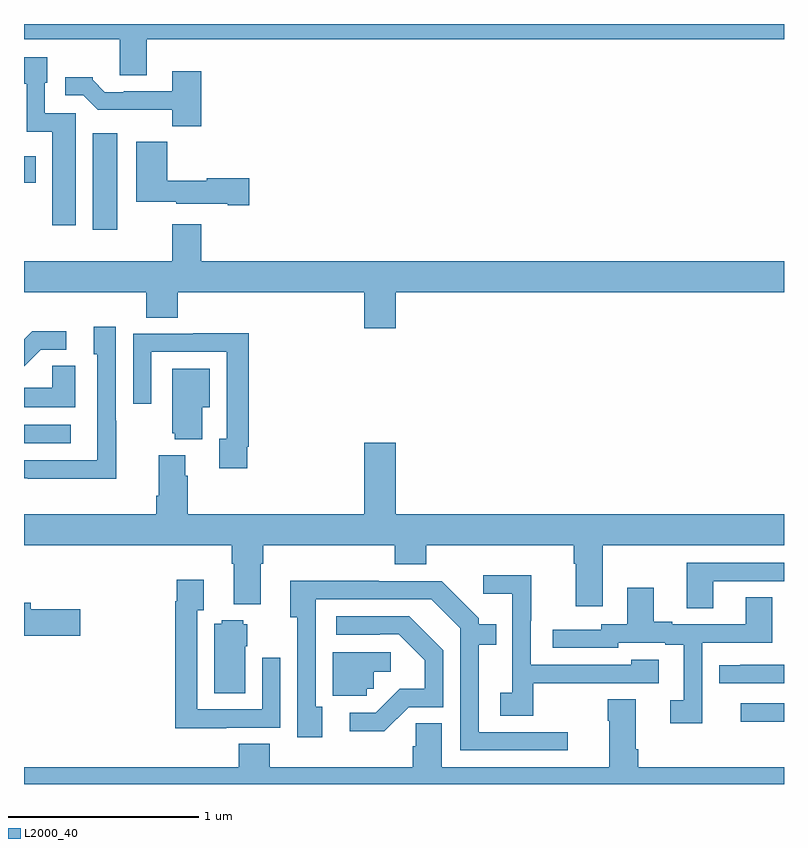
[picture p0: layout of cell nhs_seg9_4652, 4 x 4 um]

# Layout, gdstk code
import gdstk
lib = gdstk.Library(unit=1e-6, precision=1e-09)
def R(c, l, rs):  # rectangles x0, y0, x1, y1
    for r in rs: c.add(gdstk.rectangle(r[:2], r[2:], *l))
def P(c, l, *ps):  # polygons
    for p in ps: c.add(gdstk.Polygon(p, *l))
L2000_40 = (2000, 40)

nhs_seg9_4652 = lib.new_cell('nhs_seg9_4652')
R(nhs_seg9_4652, L2000_40, [(382.773,1192.828,383,1192.926), (379,1194.294,379.246,1194.39), (379.361,1195.416,379.492,1195.924), (379,1195.664,379.063,1195.804)])
P(nhs_seg9_4652, L2000_40, [(379.645,1196.42),(383,1196.42),(383,1196.5),(379,1196.5),(379,1196.42),(379.505,1196.42),(379.505,1196.23),(379.645,1196.23)],
  [(379.273,1196.031),(379.11,1196.031),(379.11,1196.19),(379.123,1196.19),(379.123,1196.326),(379,1196.326),(379,1196.186),(379.014,1196.186),(379.014,1195.934),(379.148,1195.934),(379.148,1195.44),(379.273,1195.44)],
  [(379.934,1196.251),(379.781,1196.251),(379.781,1196.145),(379.525,1196.145),(379.525,1196.142),(379.426,1196.142),(379.362,1196.206),(379.362,1196.221),(379.218,1196.221),(379.218,1196.124),(379.311,1196.124),(379.387,1196.048),(379.779,1196.048),(379.779,1195.961),(379.934,1195.961)],
  [(380.185,1195.688),(379.962,1195.688),(379.962,1195.675),(379.754,1195.675),(379.754,1195.879),(379.592,1195.879),(379.592,1195.565),(379.8,1195.565),(379.8,1195.553),(380.072,1195.553),(380.072,1195.546),(380.185,1195.546)],
  [(380.956,1195.088),(383,1195.088),(383,1195.252),(379.934,1195.252),(379.934,1195.447),(379.781,1195.447),(379.781,1195.252),(379,1195.252),(379,1195.088),(379.643,1195.088),(379.643,1194.955),(379.808,1194.955),(379.808,1195.088),(380.792,1195.088),(380.792,1194.9),(380.956,1194.9)],
  [(379.485,1194.413),(379.482,1194.413),(379.482,1194.907),(379.367,1194.907),(379.367,1194.762),(379.386,1194.762),(379.386,1194.204),(379,1194.204),(379,1194.108),(379.021,1194.108),(379.021,1194.107),(379.485,1194.107)],
  [(379.087,1194.786),(379.222,1194.786),(379.222,1194.884),(379.043,1194.884),(379,1194.841),(379,1194.699)],
  [(380.176,1194.274),(380.183,1194.274),(380.183,1194.872),(379.891,1194.872),(379.891,1194.87),(379.575,1194.87),(379.575,1194.501),(379.671,1194.501),(379.671,1194.774),(380.067,1194.774),(380.067,1194.318),(380.027,1194.318),(380.027,1194.162),(380.176,1194.162)],
  [(379.27,1194.701),(379.149,1194.701),(379.149,1194.586),(379,1194.586),(379,1194.482),(379.27,1194.482)],
  [(379.939,1194.482),(379.978,1194.482),(379.978,1194.685),(379.781,1194.685),(379.781,1194.345),(379.793,1194.345),(379.793,1194.314),(379.939,1194.314)],
  [(382.045,1193.756),(383,1193.756),(383,1193.92),(380.956,1193.92),(380.956,1194.295),(380.792,1194.295),(380.792,1193.92),(379.862,1193.92),(379.862,1194.122),(379.849,1194.122),(379.849,1194.229),(379.709,1194.229),(379.709,1194.016),(379.697,1194.016),(379.697,1193.92),(379,1193.92),(379,1193.756),(380.093,1193.756),(380.093,1193.66),(380.105,1193.66),(380.105,1193.447),(380.245,1193.447),(380.245,1193.66),(380.258,1193.66),(380.258,1193.756),(380.951,1193.756),(380.951,1193.657),(381.116,1193.657),(381.116,1193.756),(381.893,1193.756),(381.893,1193.66),(381.905,1193.66),(381.905,1193.436),(382.045,1193.436)],
  [(382.627,1193.568),(383,1193.568),(383,1193.664),(382.487,1193.664),(382.487,1193.425),(382.627,1193.425)],
  [(381.679,1193.029),(381.983,1193.029),(381.983,1193.031),(382.342,1193.031),(382.342,1193.155),(382.197,1193.155),(382.197,1193.127),(381.666,1193.127),(381.666,1193.36),(381.669,1193.36),(381.669,1193.599),(381.417,1193.599),(381.417,1193.501),(381.57,1193.501),(381.57,1192.98),(381.507,1192.98),(381.507,1192.858),(381.679,1192.858)],
  [(380.065,1192.797),(380.349,1192.797),(380.349,1193.164),(380.253,1193.164),(380.253,1192.893),(379.911,1192.893),(379.911,1193.414),(379.945,1193.414),(379.945,1193.575),(379.803,1193.575),(379.803,1193.462),(379.795,1193.462),(379.795,1192.793),(380.065,1192.793)],
  [(381.862,1192.773),(381.394,1192.773),(381.394,1193.232),(381.485,1193.232),(381.485,1193.341),(381.393,1193.341),(381.393,1193.373),(381.198,1193.568),(380.867,1193.568),(380.867,1193.57),(380.402,1193.57),(380.402,1193.378),(380.439,1193.378),(380.439,1192.746),(380.569,1192.746),(380.569,1192.906),(380.535,1192.906),(380.535,1193.472),(381.144,1193.472),(381.297,1193.319),(381.297,1192.677),(381.862,1192.677)],
  [(382.569,1193.244),(382.939,1193.244),(382.939,1193.483),(382.799,1193.483),(382.799,1193.34),(382.411,1193.34),(382.411,1193.353),(382.315,1193.353),(382.315,1193.533),(382.175,1193.533),(382.175,1193.34),(382.038,1193.34),(382.038,1193.313),(381.783,1193.313),(381.783,1193.217),(382.128,1193.217),(382.128,1193.244),(382.376,1193.244),(382.376,1193.232),(382.472,1193.232),(382.472,1192.941),(382.401,1192.941),(382.401,1192.821),(382.569,1192.821)],
  [(379.297,1193.421),(379.036,1193.421),(379.036,1193.455),(379,1193.455),(379,1193.279),(379.297,1193.279)],
  [(381.024,1192.905),(381.207,1192.905),(381.207,1193.203),(381.028,1193.382),(380.643,1193.382),(380.643,1193.286),(380.873,1193.286),(380.873,1193.289),(380.973,1193.289),(381.11,1193.152),(381.11,1193.002),(380.977,1193.002),(380.85,1192.875),(380.715,1192.875),(380.715,1192.778),(380.896,1192.778)],
  [(380.164,1193.226),(380.176,1193.226),(380.176,1193.34),(380.154,1193.34),(380.154,1193.362),(380.04,1193.362),(380.04,1193.344),(380,1193.344),(380,1192.978),(380.164,1192.978)],
  [(380.805,1193.001),(380.841,1193.001),(380.841,1193.09),(380.929,1193.09),(380.929,1193.193),(380.624,1193.193),(380.624,1192.965),(380.805,1192.965)],
  [(383,1193.127),(382.771,1193.127),(382.771,1193.126),(382.659,1193.126),(382.659,1193.031),(383,1193.031)],
  [(383,1192.588),(382.232,1192.588),(382.232,1192.684),(382.219,1192.684),(382.219,1192.945),(382.072,1192.945),(382.072,1192.832),(382.079,1192.832),(382.079,1192.588),(381.199,1192.588),(381.199,1192.82),(381.061,1192.82),(381.061,1192.698),(381.047,1192.698),(381.047,1192.588),(380.294,1192.588),(380.294,1192.712),(380.129,1192.712),(380.129,1192.588),(379,1192.588),(379,1192.5),(383,1192.5)])

lib.write_gds('nhs_seg9_4652.gds')
